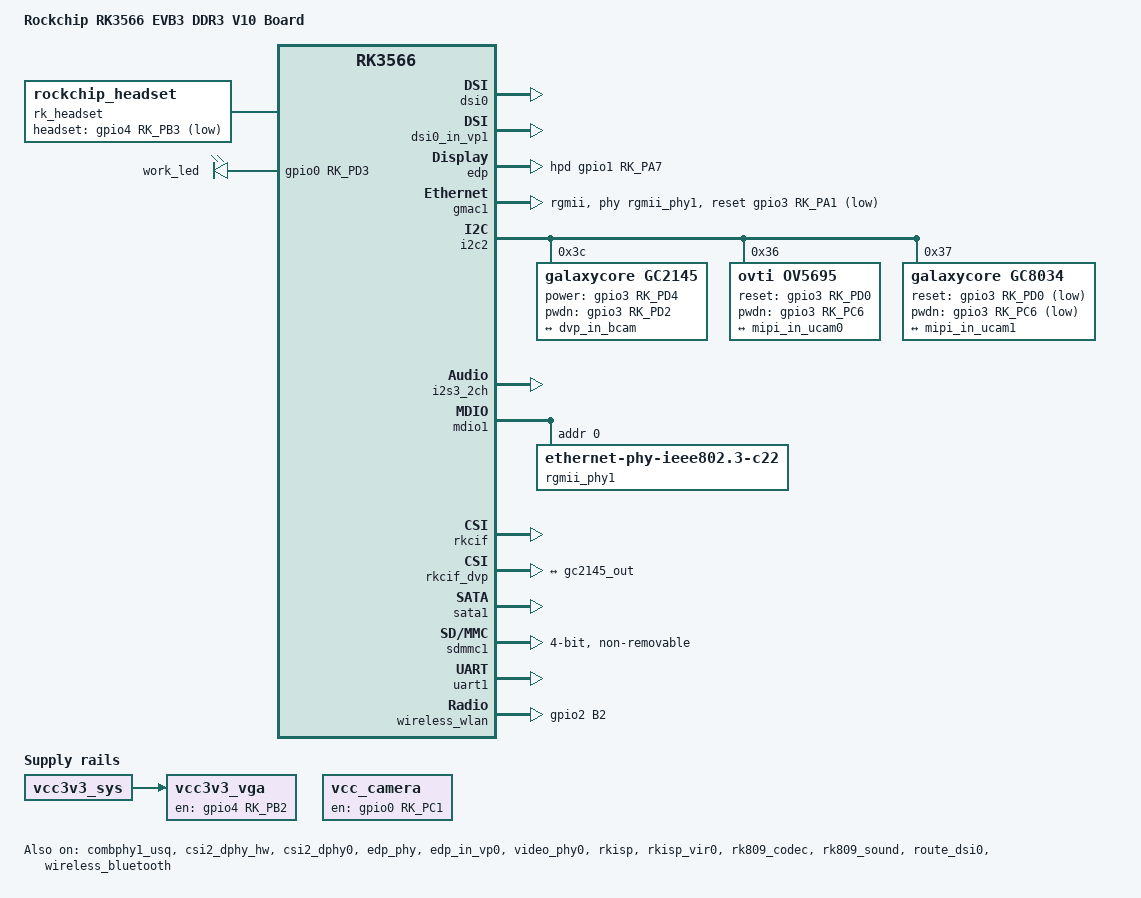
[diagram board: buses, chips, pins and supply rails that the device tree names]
// SPDX-License-Identifier: (GPL-2.0+ OR MIT)
/*
 * Copyright (c) 2020 Rockchip Electronics Co., Ltd.
 *
 */

/dts-v1/;

#include <dt-bindings/gpio/gpio.h>
#include <dt-bindings/pinctrl/rockchip.h>
#include "rk3566.dtsi"
#include "rk3566-evb.dtsi"

/ {
	model = "Rockchip RK3566 EVB3 DDR3 V10 Board";
	compatible = "rockchip,rk3566-evb3-DDR3-v10", "rockchip,rk3566";

	rk_headset: rk-headset {
		compatible = "rockchip_headset";
		headset_gpio = <&gpio4 RK_PB3 GPIO_ACTIVE_LOW>;
		pinctrl-names = "default";
		pinctrl-0 = <&hp_det>;
	};

	vcc3v3_vga: vcc3v3-vga {
		compatible = "regulator-fixed";
		regulator-name = "vcc3v3_vga";
		regulator-always-on;
		regulator-boot-on;
		gpio = <&gpio4 RK_PB2 GPIO_ACTIVE_HIGH>;
		enable-active-high;
		vin-supply = <&vcc3v3_sys>;
	};

	vcc_camera: vcc-camera-regulator {
		compatible = "regulator-fixed";
		gpio = <&gpio0 RK_PC1 GPIO_ACTIVE_HIGH>;
		pinctrl-names = "default";
		pinctrl-0 = <&camera_pwr>;
		regulator-name = "vcc_camera";
		enable-active-high;
		regulator-always-on;
		regulator-boot-on;
	};
};

&combphy1_usq {
	status = "okay";
};

&csi2_dphy_hw {
	status = "okay";
};

&csi2_dphy0 {
	status = "okay";

	ports {
		#address-cells = <1>;
		#size-cells = <0>;
		port@0 {
			reg = <0>;
			#address-cells = <1>;
			#size-cells = <0>;

			mipi_in_ucam0: endpoint@1 {
				reg = <1>;
				remote-endpoint = <&ov5695_out>;
				data-lanes = <1 2>;
			};
			mipi_in_ucam1: endpoint@2 {
				reg = <2>;
				remote-endpoint = <&gc8034_out>;
				data-lanes = <1 2 3 4>;
			};
		};
		port@1 {
			reg = <1>;
			#address-cells = <1>;
			#size-cells = <0>;

			csidphy_out: endpoint@0 {
				reg = <0>;
				remote-endpoint = <&isp0_in>;
			};
		};
	};
};

/*
 * video_phy0 needs to be enabled
 * when dsi0 is enabled
 */
&dsi0 {
	status = "okay";
};

&dsi0_in_vp0 {
	status = "disabled";
};

&dsi0_in_vp1 {
	status = "okay";
};

&dsi0_panel {
	power-supply = <&vcc3v3_lcd0_n>;
	reset-gpios = <&gpio1 RK_PA5 GPIO_ACTIVE_LOW>;
	pinctrl-names = "default";
	pinctrl-0 = <&lcd0_rst_gpio>;
};

/*
 * video_phy1 needs to be enabled
 * when dsi1 is enabled
 */
&dsi1 {
	status = "disabled";
};

&dsi1_in_vp0 {
	status = "disabled";
};

&dsi1_in_vp1 {
	status = "disabled";
};

&dsi1_panel {
	power-supply = <&vcc3v3_lcd1_n>;
	reset-gpios = <&gpio4 RK_PC6 GPIO_ACTIVE_LOW>;
	pinctrl-names = "default";
	pinctrl-0 = <&lcd1_rst_gpio>;
};

&edp {
	hpd-gpios = <&gpio1 RK_PA7 GPIO_ACTIVE_HIGH>;
	status = "okay";
};

&edp_phy {
	status = "okay";
};

&edp_in_vp0 {
	status = "okay";
};

&edp_in_vp1 {
	status = "disabled";
};

&gmac1 {
	phy-mode = "rgmii";
	clock_in_out = "output";

	snps,reset-gpio = <&gpio3 RK_PA1 GPIO_ACTIVE_LOW>;
	snps,reset-active-low;
	/* Reset time is 20ms, 100ms for rtl8211f */
	snps,reset-delays-us = <0 20000 100000>;

	assigned-clocks = <&cru SCLK_GMAC1_RX_TX>, <&cru SCLK_GMAC1>;
	assigned-clock-parents = <&cru SCLK_GMAC1_RGMII_SPEED>, <&cru CLK_MAC1_2TOP>;
	assigned-clock-rates = <0>, <125000000>;

	pinctrl-names = "default";
	pinctrl-0 = <&gmac1m0_miim
		     &gmac1m0_tx_bus2_level3
		     &gmac1m0_rx_bus2
		     &gmac1m0_rgmii_clk_level2
		     &gmac1m0_rgmii_bus_level3>;

	tx_delay = <0x41>;
	rx_delay = <0x2e>;

	phy-handle = <&rgmii_phy1>;
	status = "okay";
};

&gt1x {
	power-supply = <&vcc3v3_lcd0_n>;
};

&i2c2 {
	status = "okay";
	pinctrl-0 = <&i2c2m1_xfer>;

	gc2145: gc2145@3c {
		status = "okay";
		compatible = "galaxycore,gc2145";
		reg = <0x3c>;
		clocks = <&cru CLK_CIF_OUT>;
		clock-names = "xvclk";
		power-domains = <&power RK3568_PD_VI>;
		pinctrl-names = "default";
		pinctrl-0 = <&cif_clk &cif_dvp_clk &cif_dvp_bus16>;

		/*avdd-supply = <&vcc2v8_dvp>;*/
		/*dovdd-supply = <&vcc1v8_dvp>;*/
		/*dvdd-supply = <&vcc1v8_dvp>;*/

		power-gpios = <&gpio3 RK_PD4 GPIO_ACTIVE_HIGH>;
		/*reset-gpios = <&gpio3 RK_PB5 GPIO_ACTIVE_LOW>;*/
		pwdn-gpios = <&gpio3 RK_PD2 GPIO_ACTIVE_HIGH>;
		rockchip,camera-module-index = <1>;
		rockchip,camera-module-facing = "front";
		rockchip,camera-module-name = "CameraKing";
		rockchip,camera-module-lens-name = "Largan";
		port {
			gc2145_out: endpoint {
				remote-endpoint = <&dvp_in_bcam>;
			};
		};
	};

	ov5695: ov5695@36 {
		status = "okay";
		compatible = "ovti,ov5695";
		reg = <0x36>;
		clocks = <&cru CLK_CAM0_OUT>;
		clock-names = "xvclk";
		power-domains = <&power RK3568_PD_VI>;
		pinctrl-names = "default";
		pinctrl-0 = <&cam_clkout0>;
		reset-gpios = <&gpio3 RK_PD0 GPIO_ACTIVE_HIGH>;
		pwdn-gpios = <&gpio3 RK_PC6 GPIO_ACTIVE_HIGH>;
		/*power-gpios = <&gpio0 RK_PC1 GPIO_ACTIVE_HIGH>;*/
		rockchip,camera-module-index = <0>;
		rockchip,camera-module-facing = "back";
		rockchip,camera-module-name = "TongJu";
		rockchip,camera-module-lens-name = "CHT842-MD";
		port {
			ov5695_out: endpoint {
				remote-endpoint = <&mipi_in_ucam0>;
				data-lanes = <1 2>;
			};
		};
	};

	gc8034: gc8034@37 {
		compatible = "galaxycore,gc8034";
		status = "okay";
		reg = <0x37>;
		clocks = <&cru CLK_CAM0_OUT>;
		clock-names = "xvclk";
		power-domains = <&power RK3568_PD_VI>;
		pinctrl-names = "default";
		pinctrl-0 = <&cam_clkout0>;
		reset-gpios = <&gpio3 RK_PD0 GPIO_ACTIVE_LOW>;
		pwdn-gpios = <&gpio3 RK_PC6 GPIO_ACTIVE_LOW>;
		rockchip,camera-module-index = <0>;
		rockchip,camera-module-facing = "back";
		rockchip,camera-module-name = "RK-CMK-8M-2-v1";
		rockchip,camera-module-lens-name = "CK8401";
		port {
			gc8034_out: endpoint {
				remote-endpoint = <&mipi_in_ucam1>;
				data-lanes = <1 2 3 4>;
			};
		};
	};

};

&i2s1_8ch {
	status = "disabled";
};

&i2s3_2ch {
	status = "okay";
	pinctrl-names = "default";
	rockchip,clk-trcm = <1>;
	pinctrl-0 = <&i2s3m1_sclk
		     &i2s3m1_lrck
		     &i2s3m1_sdi
		     &i2s3m1_sdo>;
};

&mdio1 {
	rgmii_phy1: phy@0 {
		compatible = "ethernet-phy-ieee802.3-c22";
		reg = <0x0>;
	};
};

&video_phy0 {
	status = "okay";
};

&video_phy1 {
	status = "disabled";
};

&pdm {
	status = "disabled";
	pinctrl-names = "default";
	pinctrl-0 = <&pdmm1_clk1
		     &pdmm1_sdi1
		     &pdmm1_sdi2
		     &pdmm1_sdi3>;
};

&pdmics {
	status = "disabled";
};

&pdm_mic_array {
	status = "disabled";
};

&pinctrl {
	cam {
		camera_pwr: camera-pwr {
			rockchip,pins =
				/* camera power en */
				<0 RK_PC1 RK_FUNC_GPIO &pcfg_pull_none>;
		};
	};

	headphone {
		hp_det: hp-det {
			rockchip,pins = <4 RK_PB3 RK_FUNC_GPIO &pcfg_pull_down>;
		};
	};

	lcd0 {
		lcd0_rst_gpio: lcd-rst-gpio {
			rockchip,pins = <1 RK_PA5 RK_FUNC_GPIO &pcfg_pull_none>;
		};
	};

	lcd1 {
		lcd1_rst_gpio: lcd1-rst-gpio {
			rockchip,pins = <4 RK_PC6 RK_FUNC_GPIO &pcfg_pull_none>;
		};
	};

	sdio-pwrseq {
		wifi_enable_h: wifi-enable-h {
			rockchip,pins = <2 RK_PB1 RK_FUNC_GPIO &pcfg_pull_none>;
		};
	};

	wireless-wlan {
		wifi_host_wake_irq: wifi-host-wake-irq {
			rockchip,pins = <2 RK_PB2 RK_FUNC_GPIO &pcfg_pull_down>;
		};
	};

	wireless-bluetooth {
		uart1_gpios: uart1-gpios {
			rockchip,pins = <2 RK_PB5 RK_FUNC_GPIO &pcfg_pull_none>;
		};
	};
};

&rkcif {
	status = "okay";
};

&rkcif_dvp {
	status = "okay";

	port {
		/* Parallel bus endpoint */
		dvp_in_bcam: endpoint {
			remote-endpoint = <&gc2145_out>;
			bus-width = <8>;
			vsync-active = <0>;
			hsync-active = <1>;
		};
	};
};

&rkisp {
	status = "okay";
};

&rkisp_mmu {
	status = "okay";
};

&rkisp_vir0 {
	status = "okay";

	port {
		#address-cells = <1>;
		#size-cells = <0>;

		isp0_in: endpoint@0 {
			reg = <0>;
			remote-endpoint = <&csidphy_out>;
		};
	};
};

&rk809_codec {
	compatible = "rockchip,rk809-codec", "rockchip,rk817-codec";
	clocks = <&cru I2S3_MCLKOUT>;
	clock-names = "mclk";
	assigned-clocks = <&cru I2S3_MCLKOUT>, <&cru I2S3_MCLK_IOE>;
	assigned-clock-rates = <12288000>;
	assigned-clock-parents = <&cru I2S3_MCLKOUT_TX>, <&cru I2S3_MCLKOUT>;
	pinctrl-names = "default";
	pinctrl-0 = <&i2s3m1_mclk>;
	hp-volume = <20>;
	spk-volume = <3>;
	mic-in-differential;
	status = "okay";
};

&rk809_sound {
	status = "okay";
	compatible = "simple-audio-card";
	simple-audio-card,format = "i2s";
	simple-audio-card,name = "rockchip,rk809-codec";
	simple-audio-card,mclk-fs = <256>;

	simple-audio-card,cpu {
		sound-dai = <&i2s3_2ch>;
	};
	simple-audio-card,codec {
		sound-dai = <&rk809_codec 0>;
	};
};

&route_dsi0 {
	status = "okay";
	connect = <&vp1_out_dsi0>;
};

&sata1 {
	status = "okay";
};

&sdio_pwrseq {
	reset-gpios = <&gpio2 RK_PB1 GPIO_ACTIVE_LOW>;
};

&sdmmc1 {
	max-frequency = <150000000>;
	no-sd;
	no-mmc;
	bus-width = <4>;
	disable-wp;
	cap-sd-highspeed;
	cap-sdio-irq;
	keep-power-in-suspend;
	mmc-pwrseq = <&sdio_pwrseq>;
	non-removable;
	pinctrl-names = "default";
	pinctrl-0 = <&sdmmc1_bus4 &sdmmc1_cmd &sdmmc1_clk>;
	sd-uhs-sdr104;
	status = "okay";
};

&sdmmc2 {
	status = "disabled";
};

&spdif_8ch {
	status = "disabled";
};

&uart1 {
	status = "okay";
	pinctrl-names = "default";
	pinctrl-0 = <&uart1m0_xfer &uart1m0_ctsn>;
};

&vcc3v3_lcd0_n {
	gpio = <&gpio0 RK_PC0 GPIO_ACTIVE_HIGH>;
	enable-active-high;
};

&wireless_bluetooth {
	compatible = "bluetooth-platdata";
	clocks = <&rk809 1>;
	clock-names = "ext_clock";
	//wifi-bt-power-toggle;
	uart_rts_gpios = <&gpio2 RK_PB5 GPIO_ACTIVE_LOW>;
	pinctrl-names = "default", "rts_gpio";
	pinctrl-0 = <&uart1m0_rtsn>;
	pinctrl-1 = <&uart1_gpios>;
	BT,reset_gpio    = <&gpio2 RK_PB7 GPIO_ACTIVE_HIGH>;
	BT,wake_gpio     = <&gpio2 RK_PC1 GPIO_ACTIVE_HIGH>;
	BT,wake_host_irq = <&gpio2 RK_PC0 GPIO_ACTIVE_HIGH>;
	status = "okay";
};

&wireless_wlan {
	pinctrl-names = "default";
	pinctrl-0 = <&wifi_host_wake_irq>;
	WIFI,host_wake_irq = <&gpio2 RK_PB2 GPIO_ACTIVE_HIGH>;
};

&work_led {
	gpios = <&gpio0 RK_PD3 GPIO_ACTIVE_HIGH>;
};
